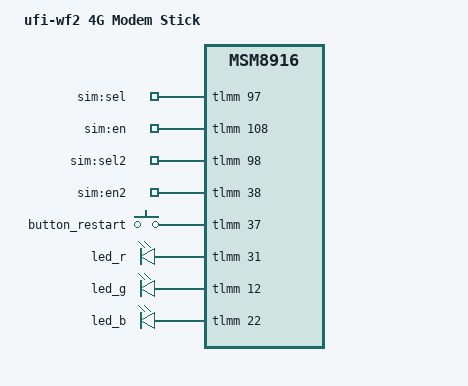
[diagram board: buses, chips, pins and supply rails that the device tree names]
// SPDX-License-Identifier: GPL-2.0-only

/dts-v1/;

#include "msm8916-mifi.dtsi"

/ {
	model = "ufi-wf2 4G Modem Stick";
	compatible = "xinxun,wf2", "qcom,msm8916";

	/*
	 * SIM card mux. These four lines drive an external SIM switch and are
	 * exported through the gpio-leds driver (the usual trick on these
	 * sticks, since there is no dedicated SIM-mux binding).
	 *
	 * sim_sel=on / sim_en=off  -> internal slot selected
	 * sim_sel2=off / sim_en2=off -> second slot idle
	 * Left exactly as in the original tree: this combination is what makes
	 * the modem register (auto_apn reads the IMSI), so it must not change.
	 */
	leds: leds {
		sim_sel {
			label = "sim:sel";
			gpios = <&tlmm 97 GPIO_ACTIVE_HIGH>;
			default-state = "on";
		};

		sim_en {
			label = "sim:en";
			gpios = <&tlmm 108 GPIO_ACTIVE_HIGH>;
			default-state = "off";
		};

		sim_sel2 {
			label = "sim:sel2";
			gpios = <&tlmm 98 GPIO_ACTIVE_HIGH>;
			default-state = "off";
		};

		sim_en2 {
			label = "sim:en2";
			gpios = <&tlmm 38 GPIO_ACTIVE_HIGH>;
			default-state = "off";
		};
	};
};

/*
 * ---------------------------------------------------------------------------
 * Latency tuning - "WiFi is laggy even though CPU and RAM are idle"
 * ---------------------------------------------------------------------------
 *
 * This stick is a network-forwarding appliance: LTE (bam_dmux -> modem) on
 * one side, WCN3620/wcn36xx AP on the other. A forwarding box goes idle
 * between packet bursts, and MSM8916 answers those gaps by powering the
 * cores down (msm8916.dtsi defines the states below):
 *
 *   CPU_SLEEP_0    standalone power collapse   150 us exit / 2 ms residency
 *   CLUSTER_RET    cluster retention           500 us exit / 2 ms residency
 *   CLUSTER_PWRDN  cluster GDHS power-down    2000 us exit / 6 ms residency
 *
 * Every idle gap longer than the residency deadline costs the full exit
 * latency before the next packet can even be looked at. That is pure added
 * latency and jitter, and it is invisible in "CPU load" because the CPU is
 * asleep - which is exactly why the box looks idle while the network feels
 * slow.
 *
 * Policy changes only (the hardware numbers are unchanged):
 *   - drop CLUSTER_PWRDN: 2 ms in + 2 ms out is far too expensive for a
 *     device whose whole purpose is moving packets. Cluster retention (or
 *     plain WFI) is kept, so power is still saved on a genuinely idle box.
 *   - raise CPU_SLEEP_0 min-residency so a core is not collapsed in the
 *     middle of a burst; real idles (tens of ms) still collapse.
 */
&CLUSTER_PD {
	domain-idle-states = <&CLUSTER_RET>;
};

&CPU_SLEEP_0 {
	min-residency-us = <20000>;
};

&button_restart {
	gpios = <&tlmm 37 GPIO_ACTIVE_HIGH>;
};

&led_r {
	gpios = <&tlmm 31 GPIO_ACTIVE_HIGH>;
};

/*
 * LED wiring on the ufi-wf2 board.
 *
 * msm8916-mifi.dtsi ships a generic fallback (green = WLAN, blue = WAN,
 * blue off) that does NOT match this board. On the real stick the BLUE led
 * is the WiFi indicator and it is lit as soon as the SoC is up; GREEN is
 * the WAN/internet indicator. With the dtsi defaults the board looked dead
 * ("wifi led never lights") even though it had booted fine, because the
 * only led that turned on was the red power one.
 *
 * Verified against a known-good boot.img for this exact board: its DTB has
 * led-b = wlan / default-state "on" and led-g = wan / default-state "off".
 */
&led_g {
	gpios = <&tlmm 12 GPIO_ACTIVE_HIGH>;
	function = LED_FUNCTION_WAN;
	default-state = "off";
};

&led_b {
	gpios = <&tlmm 22 GPIO_ACTIVE_HIGH>;
	function = LED_FUNCTION_WLAN;
	default-state = "on";
};

&button_default {
	pins = "gpio37";
	bias-pull-down;
};

&gpio_leds_default {
	pins = "gpio12","gpio22","gpio31","gpio38","gpio97","gpio98","gpio108";
};
